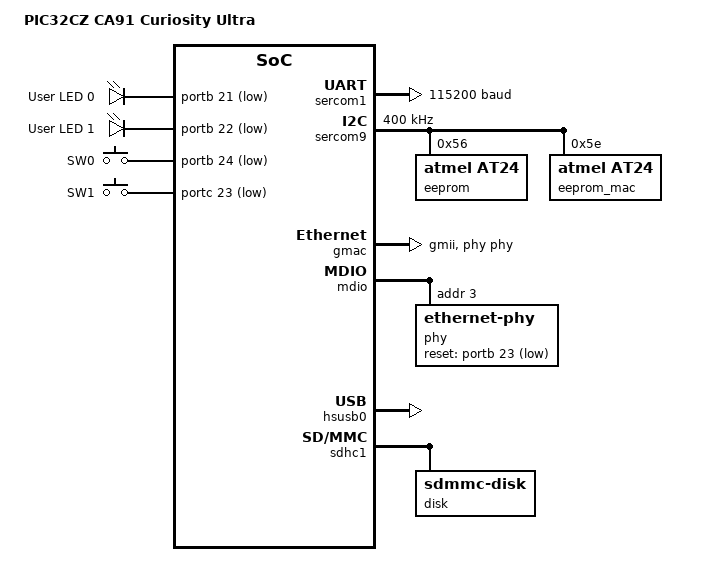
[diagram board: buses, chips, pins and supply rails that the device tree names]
/*
 * SPDX-FileCopyrightText: Copyright (c) 2025-2026 Microchip Technology Inc.
 *
 * SPDX-License-Identifier: Apache-2.0
 */

/dts-v1/;
#include <microchip/pic32c/pic32cz_ca/pic32cz_ca91/pic32cz4010ca91208.dtsi>
#include "pic32cz_ca91_cult-pinctrl.dtsi"
#include <zephyr/dt-bindings/input/input-event-codes.h>
#include <zephyr/dt-bindings/i2c/i2c.h>

/ {
	model = "PIC32CZ CA91 Curiosity Ultra";
	compatible = "microchip,pic32cz_ca91_cult";

	chosen {
		zephyr,sram = &sram0;
		zephyr,flash = &flash0;
		zephyr,flash-controller = &nvmctrl;
		zephyr,console = &sercom1;
		zephyr,shell-uart = &sercom1;
		zephyr,code-partition = &slot0_partition;
		zephyr,entropy = &trng;
		zephyr,sdhc = &sdhc1;
	};

	aliases {
		led0 = &led0;
		led1 = &led1;
		sw0 = &button0;
		sw1 = &button1;
		eeprom-0 = &eeprom;
		sdhc0 = &sdhc1;
	};

	leds {
		compatible = "gpio-leds";

		led0: led_0 {
			gpios = <&portb 21 GPIO_ACTIVE_LOW>;
			label = "User LED 0";
		};

		led1: led_1 {
			gpios = <&portb 22 GPIO_ACTIVE_LOW>;
			label = "User LED 1";
		};
	};

	buttons {
		compatible = "gpio-keys";

		button0: button_0 {
			gpios = <&portb 24 (GPIO_PULL_UP | GPIO_ACTIVE_LOW)>;
			label = "SW0";
			zephyr,code = <INPUT_KEY_0>;
		};

		button1: button_1 {
			gpios = <&portc 23 (GPIO_PULL_UP | GPIO_ACTIVE_LOW)>;
			label = "SW1";
			zephyr,code = <INPUT_KEY_1>;
		};
	};
};

&flash0 {
	partitions {
		#address-cells = <1>;
		#size-cells = <1>;
		ranges;

		/* 128KB BFM for bootloader */
		boot_partition: partition@0 {
			label = "mcuboot";
			reg = <0x0 DT_SIZE_K(128)>;
		};

		/* 1.75MB for slot0 partition */
		slot0_partition: partition@4000000 {
			compatible = "zephyr,mapped-partition";
			label = "image-0";
			reg = <0x04000000 DT_SIZE_K(1792)>;
		};

		/* 1.75MB for slot1 partition */
		slot1_partition: partition@41c0000 {
			compatible = "zephyr,mapped-partition";
			label = "image-1";
			reg = <0x041c0000 DT_SIZE_K(1792)>;
		};

		/* 512kB for storage partition */
		storage_partition: partition@4380000 {
			compatible = "zephyr,mapped-partition";
			label = "storage";
			reg = <0x04380000 DT_SIZE_K(512)>;
		};
	};
};

&cpu0 {
	clock-frequency = <240000000>;
};

&clock {
	compatible = "microchip,pic32cz-ca-clock";

	xosc: xosc {
		compatible = "microchip,pic32cz-ca-xosc";
		xosc-frequency = <12000000>;
		xosc-en = <1>;
		xosc-xtal-en = <1>;
		xosc-usb-ref-clock-div = "div1";
	};

	dpll: dpll {
		compatible = "microchip,pic32cz-ca-dpll";

		dpll0: dpll0 {
			subsystem = <CLOCK_MCHP_DPLL_ID_DPLL0>;
			dpll-bandwidth-sel = "10mhz-20mhz";
			dpll-ref-division-factor = <1>;
			dpll-feedback-divider-factor = <100>; /* Fvco = 1200Mhz */
			dpll-src = "xosc";
			dpll-en = <1>;

			dpll0out0: dpll0out0 {
				/* CPU = 1200/5 = 240Mhz */
				subsystem = <CLOCK_MCHP_DPLL0_ID_OUT0>;
				dpll-output-division-factor = <5>;
				dpll-output-en = <1>;
			};

			dpll0out1: dpll0out1 {
				/* SDHC core clk = 1200/12 = 100Mhz */
				subsystem = <CLOCK_MCHP_DPLL0_ID_OUT1>;
				dpll-output-division-factor = <12>;
				dpll-output-en = <1>;
			};

			dpll0out2: dpll0out2 {
				/*
				 * Used for SDHC slow clock.
				 * 1200 / 50 = 24 MHz. Divide by 50 to stay above 12.7MHz floor
				 */
				subsystem = <CLOCK_MCHP_DPLL0_ID_OUT2>;
				dpll-output-division-factor = <50>;
				dpll-output-en = <1>;
			};
		};

		dpll1: dpll1 {
			subsystem = <CLOCK_MCHP_DPLL_ID_DPLL1>;
			dpll-bandwidth-sel = "4mhz-10mhz";
			dpll-ref-division-factor = <3>;
			dpll-feedback-divider-factor = <250>;
			dpll-src = "xosc";
			dpll-en = <1>;

			dpll1out0: dpll1out0 {
				subsystem = <CLOCK_MCHP_DPLL1_ID_OUT0>;
				dpll-output-division-factor = <8>;
				dpll-output-en = <1>;
				dpll-fractional-divider-int = <0>;
				dpll-fractional-divider-rem = <0>;
			};
		};
	};

	xosc32k: xosc32k {
		compatible = "microchip,pic32cz-ca-xosc32k";
		xosc32k-xtal-en = <1>;
		xosc32k-control-gain-mode = "higher-than-cgm7";
		xosc32k-en = <1>;
	};

	gclkgen: gclkgen {
		compatible = "microchip,pic32cz-ca-gclkgen";

		gclkgen0 {
			subsystem = <CLOCK_MCHP_GCLKGEN_ID_GEN0>;
			gclkgen-div-factor = <1>;
			gclkgen-run-in-standby-en = <1>;
			gclkgen-src = "pll0-clkout0";
			gclkgen-en = <1>;
		};

		gclkgen1 {
			subsystem = <CLOCK_MCHP_GCLKGEN_ID_GEN1>;
			gclkgen-div-factor = <6>;
			gclkgen-run-in-standby-en = <1>;
			gclkgen-src = "pll0-clkout0";
			gclkgen-en = <1>;
		};

		gclkgen2 {
			subsystem = <CLOCK_MCHP_GCLKGEN_ID_GEN2>;
			gclkgen-div-factor = <1>;
			gclkgen-run-in-standby-en = <1>;
			gclkgen-src = "pll1-frc-clkout0";
			gclkgen-en = <1>;
		};

		/* GCLK for SDHC core clock - 100 MHz from PLL0_OUT1 */
		gclkgen3 {
			subsystem = <CLOCK_MCHP_GCLKGEN_ID_GEN3>;
			gclkgen-div-factor = <1>;
			gclkgen-run-in-standby-en = <1>;
			gclkgen-src = "pll0-clkout1";
			gclkgen-en = <1>;
		};

		/* GCLK for SDHC slow clock - 24/2 = 12 MHz from PLL0_OUT2 */
		gclkgen4 {
			subsystem = <CLOCK_MCHP_GCLKGEN_ID_GEN4>;
			gclkgen-div-factor = <2>;
			gclkgen-run-in-standby-en = <1>;
			gclkgen-src = "pll0-clkout2";
			gclkgen-en = <1>;
		};
	};

	gclkperiph: gclkperiph {
		compatible = "microchip,pic32cz-ca-gclkperiph";
		#clock-cells = <1>;

		sercom1 {
			subsystem = <CLOCK_MCHP_GCLKPERIPH_ID_SERCOM1_CORE>;
			gclkperiph-src = "gclk0";
			gclkperiph-en = <1>;
		};

		sercom9 {
			subsystem = <CLOCK_MCHP_GCLKPERIPH_ID_SERCOM9_CORE>;
			gclkperiph-src = "gclk1";
			gclkperiph-en = <0>;
		};

		sercom2 {
			subsystem = <CLOCK_MCHP_GCLKPERIPH_ID_SERCOM2_CORE>;
			gclkperiph-src = "gclk0";
			gclkperiph-en = <1>;
		};

		gmac_tx {
			subsystem = <CLOCK_MCHP_GCLKPERIPH_ID_GMAC_TX>;
			gclkperiph-src = "gclk2";
			gclkperiph-en = <1>;
		};

		gmac_tsu {
			subsystem = <CLOCK_MCHP_GCLKPERIPH_ID_GMAC_TSU>;
			gclkperiph-src = "gclk2";
			gclkperiph-en = <1>;
		};

		sdhc1_core {
			subsystem = <CLOCK_MCHP_GCLKPERIPH_ID_SDHC1_CORE>;
			gclkperiph-src = "gclk3";
			gclkperiph-en = <1>;
		};

		sdhc1_slow {
			subsystem = <CLOCK_MCHP_GCLKPERIPH_ID_SDHC1_SLOW>;
			gclkperiph-src = "gclk4";
			gclkperiph-en = <1>;
		};
	};

	mclkdomain: mclkdomain {
		compatible = "microchip,pic32cz-ca-mclkdomain";

		mclkcpu {
			subsystem = <CLOCK_MCHP_MCLKDOMAIN_ID_CPU>;
			mclk-div = <1>;
		};

		mclkperiph {
			subsystem = <CLOCK_MCHP_MCLKDOMAIN_ID_PERIPH>;
			mclk-div = <2>;
		};
	};

	mclkperiph: mclkperiph {
		compatible = "microchip,pic32cz-ca-mclkperiph";
		#clock-cells = <1>;

		sercom1 {
			subsystem = <CLOCK_MCHP_MCLKPERIPH_ID_SERCOM1>;
			mclk-en = <1>;
		};

		sercom2 {
			subsystem = <CLOCK_MCHP_MCLKPERIPH_ID_SERCOM2>;
			mclk-en = <1>;
		};

		husb0 {
			subsystem = <CLOCK_MCHP_MCLKPERIPH_ID_HUSB0>;
			mclk-en = <1>;
		};

		gmac_ahb {
			subsystem = <CLOCK_MCHP_MCLKPERIPH_ID_GMAC_AHB>;
			mclk-en = <1>;
		};

		gmac_apb {
			subsystem = <CLOCK_MCHP_MCLKPERIPH_ID_GMAC_APB>;
			mclk-en = <1>;
		};

		sdhc1 {
			subsystem = <CLOCK_MCHP_MCLKPERIPH_ID_SDHC1_AHB>;
			mclk-en = <1>;
		};
	};
};

&portb {
	status = "okay";
};

&portc {
	status = "okay";
};

&portg {
	status = "okay";
};

&sercom1 {
	compatible = "microchip,sercom-g1-uart";
	#address-cells = <1>;
	#size-cells = <0>;
	current-speed = <115200>;
	data-bits = <8>;
	parity = "none";
	stop-bits = "1";
	rxpo = <3>;
	txpo = <0>;
	pinctrl-0 = <&sercom1_uart_default>;
	pinctrl-names = "default";
	status = "okay";
};

&dmac {
	status = "okay";
};

i2c0: &sercom9 {
	compatible = "microchip,sercom-g1-i2c";
	#address-cells = <1>;
	#size-cells = <0>;
	clock-frequency = <I2C_BITRATE_FAST>;
	pinctrl-0 = <&sercom9_i2c_default>;
	pinctrl-names = "default";
	dmas = <&dmac 2 0x17>, <&dmac 3 0x18>;
	dma-names = "rx", "tx";
	status = "okay";

	eeprom: eeprom@56 {
		compatible = "atmel,at24", "atmel,24mac402";
		reg = <0x56>;
		size = <256>;
		pagesize = <16>;
		address-width = <8>;
		timeout = <5>;
	};

	eeprom_mac: eeprom@5e {
		compatible = "atmel,at24", "atmel,24mac402";
		reg = <0x5e>;
		size = <256>;
		pagesize = <16>;
		address-width = <8>;
		timeout = <5>;

		nvmem-layout {
			compatible = "fixed-layout";
			#address-cells = <1>;
			#size-cells = <1>;

			mac_address: mac-address@9a {
				reg = <0x9a 6>;
				#nvmem-cell-cells = <0>;
			};
		};
	};
};

&gmac {
	compatible = "microchip,gmac-g1-eth";
	pinctrl-0 = <&gmac_gmii>;
	pinctrl-names = "default";

	nvmem-cells = <&mac_address>;
	nvmem-cell-names = "mac-address";
	phy-connection-type = "gmii";
	phy-handle = <&phy>;
	status = "okay";
};

&mdio {
	compatible = "microchip,gmac-g1-mdio";
	pinctrl-0 = <&mdio_default>;
	pinctrl-names = "default";
	status = "okay";

	phy: ethernet-phy@3 {
		compatible = "ethernet-phy";
		status = "okay";
		reg = <3>;
		reset-gpios = <&portb 23 GPIO_ACTIVE_LOW>;
		reset-assert-duration-us = <10000>;
		reset-deassertion-timeout-ms = <1>;
	};
};

zephyr_udc0: &hsusb0 {
	status = "okay";
};

zephyr_udc1: &hsusb1 {
	/* USBHS1 (Type-C connector) is disabled – USBHS0 (hsusb0, Micro A/B
	 * connector) is used as the primary USB device controller via the
	 * zephyr_udc0 alias above.
	 */
	status = "disabled";
};

&sdhc1 {
	compatible = "microchip,sdhc-g1";
	pinctrl-0 = <&sdhc1_default>;
	pinctrl-names = "default";
	auto-cmd23;
	auto-cmd12;
	status = "okay";

	disk {
		compatible = "zephyr,sdmmc-disk";
		disk-name = "SD";
		status = "okay";
	};
};
